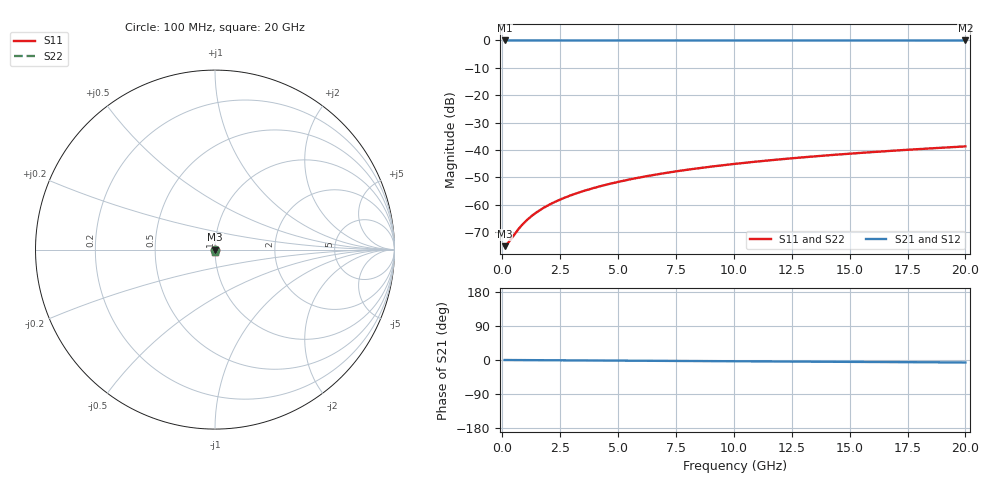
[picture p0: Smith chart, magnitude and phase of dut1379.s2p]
! Touchstone file exported from HFSS 2026.1.0
!  File:  C:/ffzhzh/LocalFiles/Ansys_Project_Files/temp_train_TSV_1379_1783196406_18472.aedt
!  Generated:  04:21:33 AM Jul  5, 2026
!  Design:  TSV
!  Project:  temp_train_TSV_1379_1783196406_18472
! Variables:
!  h_bsmrdl = 2um
!  h_ox = 20um
!  h_rdl = 5um
!  h_sub = 67.39um
!  h_tmrdl = 5um
!  h_tsv = 67.39um
!  h_via = 3um
!  l_bsmrdl = 300um
!  l_sub = 415.24um
!  l_tmrdl = 200um
!  m_sub = 200um
!  pitch = 27.88um
!  r_tsv = 7.62um
!  s_tmrdl = 10um
!  w_bsmrdl = 18um
!  w_sub = 500um
!  w_tmrdl = 12um
!  x_tsv_center1 = 206um
!  x_tsv_center2 = 524um
!  x_tsv_center3 = 736um
!  x_tsv_center4 = 1054um
!  x_tsv_center5 = 1266um
!  x_tsv_center6 = 1584um
# GHz S MA R 50.000000
! Terminal data exported
! Port[1] = TSV1_1_T1
! Port[2] = TSV1_1_T2
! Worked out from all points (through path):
!   200 points, 100 MHz to 20 GHz, reference 50 ohm
!   highest |S21| = 0.00 dB at 100 MHz (marker M1); lowest = 0.0 dB at 20 GHz (marker M2)
!   lowest |S11| = -75.1 dB at 100 MHz (marker M3), VSWR 1.00, Z = 50 - j0.0012 ohm
!   |S11| at or under -10 dB: start of sweep to end of sweep
!   |S22| runs from -75.1 to -38.7 dB; largest |S21 - S12| = 4.1e-15
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0.1  0.0001758 -3.9  0.9998 -0.0  0.9998 -0.0  0.0001758 -3.9
! Gamma 0 0 0 0
! Port Impedance 50 0 50 0
0.2  0.0001909 -8.2  0.9998 -0.1  0.9998 -0.1  0.0001909 -8.2
0.3  0.0002144 -13.1  0.9998 -0.1  0.9998 -0.1  0.0002144 -13.1
0.6  0.0003192 -28.4  0.9997 -0.2  0.9997 -0.2  0.0003192 -28.4
0.7  0.0003611 -32.9  0.9997 -0.2  0.9997 -0.2  0.0003611 -32.9
0.9  0.0004503 -40.6  0.9997 -0.3  0.9997 -0.3  0.0004503 -40.6
1.2  0.0005921 -49.3  0.9996 -0.4  0.9996 -0.4  0.0005921 -49.3
1.5  0.0007388 -55.4  0.9996 -0.5  0.9996 -0.5  0.0007388 -55.4
1.9  0.0009392 -61.0  0.9995 -0.6  0.9995 -0.6  0.0009392 -61.0
2.4  0.001196 -65.7  0.9995 -0.8  0.9995 -0.8  0.001196 -65.7
2.9  0.001458 -68.8  0.9994 -1.0  0.9994 -1.0  0.001458 -68.8
3.5  0.001781 -71.5  0.9994 -1.2  0.9994 -1.2  0.001781 -71.5
4.2  0.002167 -73.7  0.9993 -1.4  0.9993 -1.4  0.002167 -73.7
5  0.002618 -75.7  0.9993 -1.7  0.9993 -1.7  0.002618 -75.7
5.9  0.003136 -77.4  0.9992 -2.0  0.9992 -2.0  0.003136 -77.4
6.8  0.003661 -78.8  0.9991 -2.2  0.9991 -2.2  0.003661 -78.8
8.3  0.004548 -80.8  0.999 -2.7  0.999 -2.7  0.004548 -80.8
10.1  0.005622 -82.7  0.9989 -3.3  0.9989 -3.3  0.005622 -82.7
11.7  0.006583 -84.1  0.9989 -3.8  0.9989 -3.8  0.006583 -84.1
13.4  0.007608 -85.4  0.9988 -4.4  0.9988 -4.4  0.007608 -85.4
16.7  0.009612 -87.6  0.9986 -5.5  0.9986 -5.5  0.009612 -87.6
20  0.01164 -89.3  0.9985 -6.5  0.9985 -6.5  0.01164 -89.3
